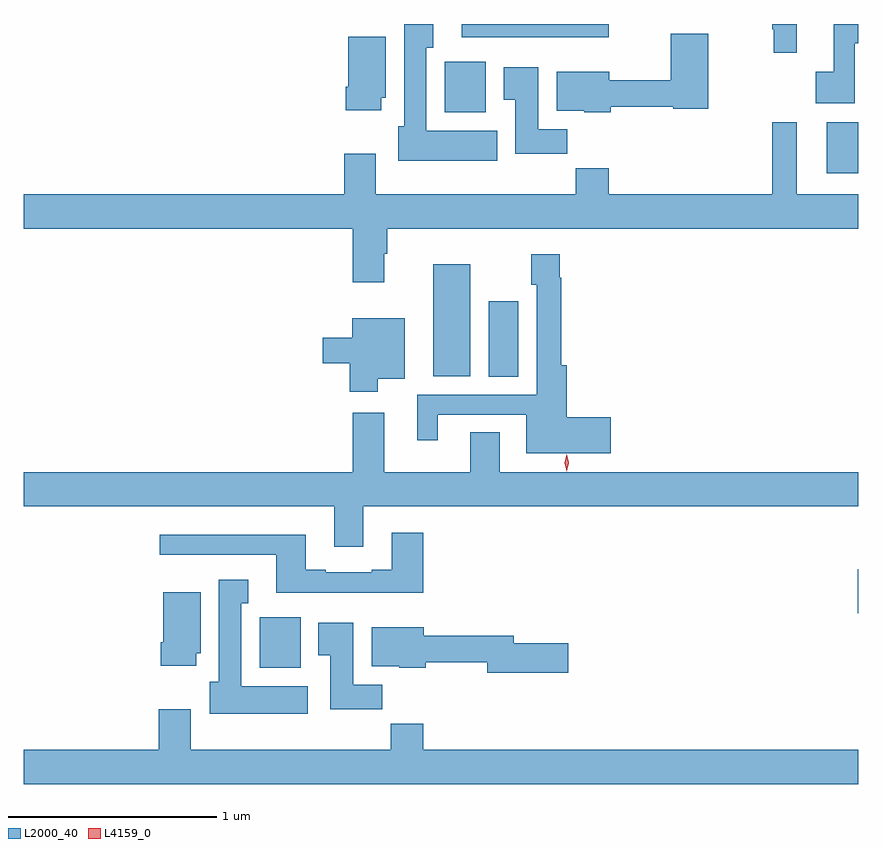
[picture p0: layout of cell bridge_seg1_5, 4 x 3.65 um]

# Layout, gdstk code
import gdstk
lib = gdstk.Library(unit=1e-6, precision=1e-09)
def R(c, l, rs):  # rectangles x0, y0, x1, y1
    for r in rs: c.add(gdstk.rectangle(r[:2], r[2:], *l))
def P(c, l, *ps):  # polygons
    for p in ps: c.add(gdstk.Polygon(p, *l))
L2000_40 = (2000, 40)
L4159_0 = (4159, 0)

bridge_seg1_5 = lib.new_cell('bridge_seg1_5')
R(bridge_seg1_5, L2000_40, [(861.998,561.614,862.195,561.856), (864.866,561.875,864.868,562.086), (863.096,563.008,863.239,563.371), (862.832,563.012,863.008,563.548), (864.719,563.984,864.868,564.229), (862.886,564.278,863.083,564.52), (862.967,564.638,863.672,564.701)])
P(bridge_seg1_5, L2000_40, [(864.852,564.608),(864.868,564.608),(864.868,564.701),(864.752,564.701),(864.752,564.473),(864.666,564.473),(864.666,564.32),(864.852,564.32)],
  [(864.575,564.701),(864.457,564.701),(864.457,564.676),(864.465,564.676),(864.465,564.564),(864.575,564.564)],
  [(863.137,564.19),(862.798,564.19),(862.798,564.587),(862.831,564.587),(862.831,564.7),(862.691,564.7),(862.691,564.21),(862.664,564.21),(862.664,564.044),(863.137,564.044)],
  [(863.682,564.303),(863.982,564.303),(863.982,564.295),(864.149,564.295),(864.149,564.655),(863.971,564.655),(863.971,564.431),(863.674,564.431),(863.674,564.472),(863.423,564.472),(863.423,564.284),(863.556,564.284),(863.556,564.278),(863.682,564.278)],
  [(862.582,564.348),(862.603,564.348),(862.603,564.64),(862.424,564.64),(862.424,564.4),(862.412,564.4),(862.412,564.288),(862.582,564.288)],
  [(863.474,564.196),(863.335,564.196),(863.335,564.493),(863.168,564.493),(863.168,564.337),(863.225,564.337),(863.225,564.078),(863.474,564.078)],
  [(862.597,563.6),(862.61,563.6),(862.61,563.72),(864.868,563.72),(864.868,563.884),(864.574,563.884),(864.574,564.229),(864.457,564.229),(864.457,563.884),(863.672,563.884),(863.672,564.008),(863.515,564.008),(863.515,563.884),(862.555,563.884),(862.555,564.079),(862.403,564.079),(862.403,563.884),(860.868,563.884),(860.868,563.72),(862.445,563.72),(862.445,563.463),(862.597,563.463)],
  [(863.683,562.814),(863.471,562.814),(863.471,563.065),(863.444,563.065),(863.444,563.483),(863.437,563.483),(863.437,563.596),(863.302,563.596),(863.302,563.451),(863.328,563.451),(863.328,562.923),(862.754,562.923),(862.754,562.704),(862.852,562.704),(862.852,562.827),(863.276,562.827),(863.276,562.643),(863.683,562.643)],
  [(862.564,563),(862.693,563),(862.693,563.29),(862.442,563.29),(862.442,563.197),(862.302,563.197),(862.302,563.075),(862.43,563.075),(862.43,562.938),(862.564,562.938)],
  [(862.495,562.388),(864.868,562.388),(864.868,562.552),(863.149,562.552),(863.149,562.742),(863.009,562.742),(863.009,562.552),(862.597,562.552),(862.597,562.837),(862.445,562.837),(862.445,562.552),(860.868,562.552),(860.868,562.388),(862.355,562.388),(862.355,562.194),(862.495,562.194)],
  [(862.784,562.261),(862.631,562.261),(862.631,562.084),(862.535,562.084),(862.535,562.071),(862.315,562.071),(862.315,562.084),(862.219,562.084),(862.219,562.252),(861.519,562.252),(861.519,562.155),(862.079,562.155),(862.079,561.974),(862.784,561.974)],
  [(862.228,561.526),(861.91,561.526),(861.91,561.923),(861.943,561.923),(861.943,562.036),(861.803,562.036),(861.803,561.546),(861.758,561.546),(861.758,561.392),(862.228,561.392)],
  [(861.694,561.684),(861.715,561.684),(861.715,561.976),(861.536,561.976),(861.536,561.736),(861.524,561.736),(861.524,561.624),(861.694,561.624)],
  [(862.586,561.532),(862.447,561.532),(862.447,561.829),(862.28,561.829),(862.28,561.673),(862.337,561.673),(862.337,561.414),(862.586,561.414)],
  [(863.479,561.731),(863.218,561.731),(863.218,561.767),(862.786,561.767),(862.786,561.808),(862.535,561.808),(862.535,561.62),(862.668,561.62),(862.668,561.614),(862.794,561.614),(862.794,561.639),(863.09,561.639),(863.09,561.589),(863.479,561.589)],
  [(864.868,561.22),(862.784,561.22),(862.784,561.344),(862.627,561.344),(862.627,561.22),(861.667,561.22),(861.667,561.415),(861.515,561.415),(861.515,561.22),(860.868,561.22),(860.868,561.056),(864.868,561.056)])
P(bridge_seg1_5, L4159_0, [(863.471,562.556),(863.471,562.557),(863.461,562.597),(863.471,562.637),(863.471,562.637),(863.471,562.637),(863.481,562.597),(863.471,562.557)])

lib.write_gds('bridge_seg1_5.gds')
